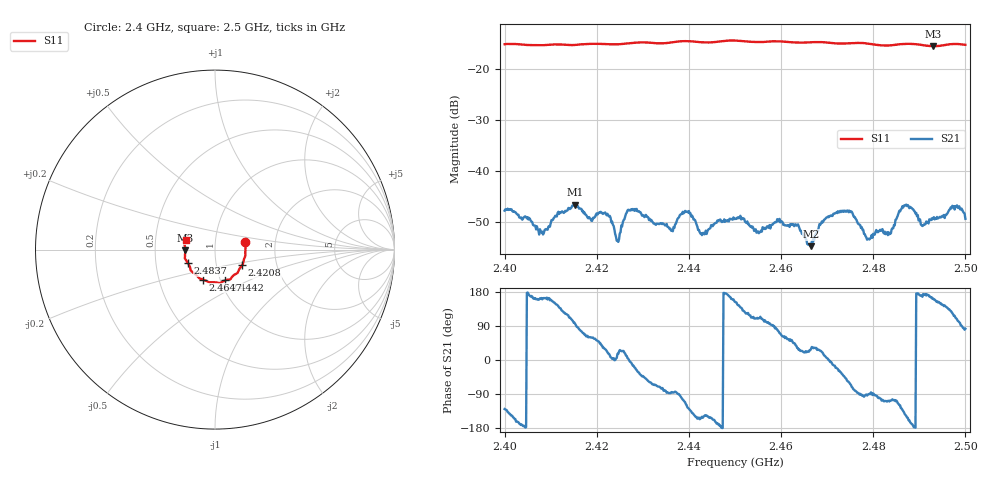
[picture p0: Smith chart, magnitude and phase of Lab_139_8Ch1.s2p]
# Hz S RI R 50
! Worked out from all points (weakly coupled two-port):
!   601 points, 2.4 GHz to 2.5 GHz, reference 50 ohm
!   highest |S21| = -46.58 dB at 2.4153 GHz (marker M1); lowest = -54.7 dB at 2.4665 GHz (marker M2)
!   lowest |S11| = -15.6 dB at 2.493 GHz (marker M3), VSWR 1.40, Z = 35.8 - j0.233 ohm
!   |S11| at or under -10 dB: start of sweep to end of sweep
!   S12 and S22 are empty: the file has one direction only
!   S11 on the Smith chart (normalised r, x): 2.4 GHz: 1.40, +0.12; 2.4208 GHz: 1.33, -0.24; 2.4442 GHz: 1.05, -0.37; 2.4647 GHz: 0.83, -0.29; 2.4837 GHz: 0.73, -0.11; 2.5 GHz: 0.72, +0.08
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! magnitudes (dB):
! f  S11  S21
! 2.4 GHz  -15.2  -47.8
! 2.408 GHz  -15.4  -52.0
! 2.4153 GHz  -15.4  -46.6
! 2.4167 GHz  -15.3  -47.4
! 2.4208 GHz  -15.2  -48.0
! 2.4245 GHz  -15.2  -53.6
! 2.4272 GHz  -15.0  -47.6
! 2.4333 GHz  -15.1  -50.3
! 2.4363 GHz  -14.9  -51.6
! 2.4395 GHz  -14.6  -48.0
! 2.4442 GHz  -14.9  -51.5
! 2.45 GHz  -14.5  -49.4
! 2.4647 GHz  -14.9  -52.2
! 2.4665 GHz  -14.8  -54.7
! 2.4667 GHz  -14.8  -53.8
! 2.4733 GHz  -15.1  -47.8
! 2.4788 GHz  -15.1  -53.3
! 2.4833 GHz  -15.5  -52.0
! 2.4837 GHz  -15.5  -52.2
! 2.4868 GHz  -15.2  -46.8
! 2.493 GHz  -15.6  -49.2
! 2.5 GHz  -15.3  -49.4
